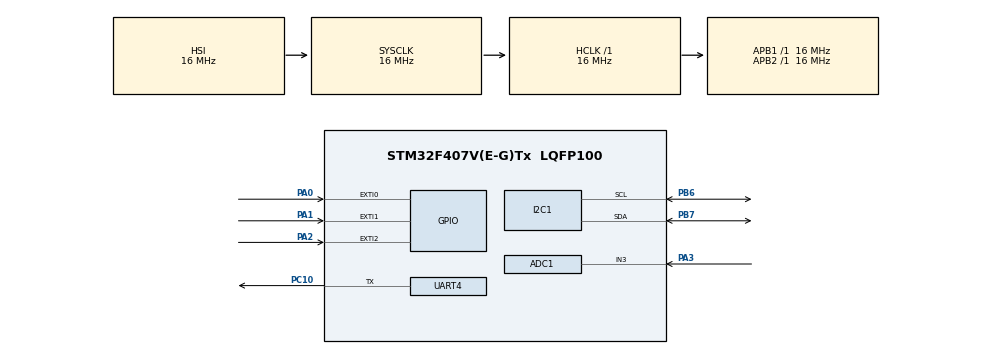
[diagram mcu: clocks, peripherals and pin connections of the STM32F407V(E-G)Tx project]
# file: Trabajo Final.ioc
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ADC1.Channel-0\#ChannelRegularConversion=ADC_CHANNEL_3
ADC1.ContinuousConvMode=ENABLE
ADC1.DMAContinuousRequests=ENABLE
ADC1.InjNumberOfConversion=0
ADC1.NbrOfConversion=1
ADC1.NbrOfConversionFlag=1
ADC1.Rank-0\#ChannelRegularConversion=1
ADC1.Resolution=ADC_RESOLUTION_8B
ADC1.SamplingTime-0\#ChannelRegularConversion=ADC_SAMPLETIME_480CYCLES
ADC1.ScanConvMode=ENABLE
ADC1.master=1
Dma.ADC1.0.Direction=DMA_PERIPH_TO_MEMORY
Dma.ADC1.0.FIFOMode=DMA_FIFOMODE_DISABLE
Dma.ADC1.0.Instance=DMA2_Stream0
Dma.ADC1.0.MemDataAlignment=DMA_MDATAALIGN_BYTE
Dma.ADC1.0.MemInc=DMA_MINC_ENABLE
Dma.ADC1.0.Mode=DMA_CIRCULAR
Dma.ADC1.0.PeriphDataAlignment=DMA_PDATAALIGN_BYTE
Dma.ADC1.0.PeriphInc=DMA_PINC_DISABLE
Dma.ADC1.0.Priority=DMA_PRIORITY_LOW
Dma.Request0=ADC1
I2C1.I2C_Mode=I2C_Fast
I2C1.OwnAddress=0x78
Mcu.Family=STM32F4
Mcu.Name=STM32F407V(E-G)Tx
Mcu.Package=LQFP100
NVIC.DMA2_Stream0_IRQn=true\:0\:0\:false\:false\:true\:false\:true
NVIC.EXTI0_IRQn=true\:0\:0\:false\:false\:true\:true\:true
NVIC.EXTI1_IRQn=true\:0\:0\:false\:false\:true\:true\:true
NVIC.EXTI2_IRQn=true\:0\:0\:false\:false\:true\:true\:true
NVIC.PriorityGroup=NVIC_PRIORITYGROUP_4
NVIC.TIM7_IRQn=true\:0\:0\:false\:false\:true\:true\:true
PA0-WKUP.Signal=GPXTI0
PA1.Signal=GPXTI1
PA2.Signal=GPXTI2
PA3.Signal=ADCx_IN3
PB6.Mode=I2C
PB6.Signal=I2C1_SCL
PB7.Mode=I2C
PB7.Signal=I2C1_SDA
PC10.Mode=Half_duplex(single_wire_mode)
PC10.Signal=UART4_TX
ProjectManager.HeapSize=0x200
ProjectManager.StackSize=0x400
ProjectManager.TargetToolchain=STM32CubeIDE
RCC.AHBFreq_Value=16000000
RCC.APB1Freq_Value=16000000
RCC.APB2Freq_Value=16000000
RCC.CortexFreq_Value=16000000
RCC.HSE_VALUE=25000000
RCC.HSI_VALUE=16000000
RCC.LSE_VALUE=32768
RCC.SYSCLKFreq_VALUE=16000000
RCC.VCOOutputFreq_Value=192000000
SH.ADCx_IN3.0=ADC1_IN3,IN3
TIM7.Period=49
TIM7.Prescaler=15999
UART4.BaudRate=9600
UART4.Mode=MODE_TX
UART4.OverSampling=UART_OVERSAMPLING_16
UART4.StopBits=UART_STOPBITS_1
UART4.VirtualMode=Asynchronous
UART4.WordLength=WORDLENGTH_8B
VP_RNG_VS_RNG.Mode=RNG_Activate
VP_TIM7_VS_ClockSourceINT.Mode=Enable_Timer
board=custom

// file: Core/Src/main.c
/* USER CODE BEGIN Header */
/**
  ******************************************************************************
  * @file           : main.c
  * @brief          : Main program body
  ******************************************************************************
  * @attention
  *
  * <h2><center>&copy; Copyright (c) 2021 STMicroelectronics.
  * All rights reserved.</center></h2>
  *
  * This software component is licensed by ST under BSD 3-Clause license,
  * the "License"; You may not use this file except in compliance with the
  * License. You may obtain a copy of the License at:
  *                        opensource.org/licenses/BSD-3-Clause
  *
  ******************************************************************************
  */
/* USER CODE END Header */
#include "main.h"

/* USER CODE BEGIN Includes */
#include <stdbool.h>
#include <string.h>
#include <stdio.h>
#include <stdlib.h>
//#include <time.h>

/* USER CODE END Includes */

ADC_HandleTypeDef hadc1;
DMA_HandleTypeDef hdma_adc1;

I2C_HandleTypeDef hi2c1;

RNG_HandleTypeDef hrng;

TIM_HandleTypeDef htim7;

UART_HandleTypeDef huart4;

/* USER CODE BEGIN PV */

// VARIABLES DISPLAY
//Direcciones I2C y buffers
uint8_t slave_address_write = 0x78;
uint8_t slave_address_read = 0x78 | 0x01;
uint8_t i2cTxBuf[2];
uint8_t i2cRxBuf;
uint8_t uartTxBuf = 11U;
bool COM_ERROR = false; //Indica error de comunicación I2C con el display
bool UART_ERROR = false; //Indica error de envío UART

#define alto_display 64
#define ancho_display 128
#define n_paginas 8 //El direccionamiento de las celdas SRAM se hace mediante páginas (8 páginas de 128 x 8 bits)
uint8_t buffer[n_paginas * ancho_display]; //Información que se cargará en la SRAM del display

//VARIABLES JUEGO
uint8_t map_layout[ancho_display][alto_display]; //Matriz 2D del mapa del juego, implementado de esta forma por
												 //comodidad. Cada entero almacenará '0' o '1' para indicar bit
												 //encendido o apagado
volatile bool refresh = false; //Actualizado por interrupciones de teporizador, indicará que el juego debe avanzar un
				      //frame y que el display debe ser actualizado

//Cuerpo de la serpiente
#define LONGITUD_INICIAL 10U
#define LONGITUD_MAXIMA 99U
struct modulo{ //La serpiente estará compuesta por módulos, las frutas serán módulos individuales
	uint8_t x;
	uint8_t y;
}typedef modulo;
modulo serpiente[LONGITUD_MAXIMA]; //Cuerpo de la serpiente
uint8_t s_Longitud = LONGITUD_INICIAL; //Longitud actual. Este valor será enviado a la FPGA como "puntuación"

//Frutas para comer por la serpiente
#define N_FRUTAS 20 //Frutas que habrá en el mapa en todo momento
modulo frutas[N_FRUTAS]; //Contiene todas las frutas actuales

//Dirección de la serpiente
#define s_DERECHA 'r'
#define s_IZQUIERDA 'i'
#define s_ARRIBA 'u'
#define s_ABAJO 'd'
#define s_SENTIDO_INICIAL s_ARRIBA
uint8_t s_Sentido = s_SENTIDO_INICIAL; //Almacena el estado de la serpiente (en qué dirección se está moviendo).

//VARIABLES BOTON
volatile bool boton = false;

//VARIABLES POTENCIÓMETRO
uint32_t adc_buffer = 0;
uint8_t pot_read = 0;

/* USER CODE END PV */

void SystemClock_Config(void);
static void MX_GPIO_Init(void);
static void MX_I2C1_Init(void);
static void MX_TIM7_Init(void);
static void MX_RNG_Init(void);
static void MX_DMA_Init(void);
static void MX_ADC1_Init(void);
static void MX_UART4_Init(void);
/* USER CODE BEGIN PFP */

//FUNCIONES OLED
bool oled_command(uint8_t command); //Envía un comando simple al display (NO UTILIZADO)
void oled_init(); //Inicialización Obligatoria
void alimentacion(bool enable); //Enciende o apaga el display
void clear(bool enable); //Carga todos los valores del buffer con un mismo valor
void display(); //Carga el buffer en la SRAM del display
void dibuja_pixel(uint8_t x, uint8_t y, bool borra); //Dibuja/Borra un sólo pixel del buffer
//void flash_screen(); //Hace parpadear la pantalla (Todo ON/Valores SRAM)
void flashScreen(); //Hace parpadear la pantalla (invertida/normal) 4 veces
void setContrast(uint8_t value); //Define el contraste del display, "value" entre 0 y 255

//FUNCIONES JUEGO
void HAL_TIM_PeriodElapsedCallback(TIM_HandleTypeDef* htim); //Callback encargada de avanzar el juego y
															 //refrescar la pantalla cada 50ms (20Hz)
void clearLayout(); //Limpia el layout
void setLayout(); //Dibuja las paredes y BORRA LO DEM�?S
void init_serpiente(); //Inicializa la serpiente en posicion inicial
void init_frutas(); //Inicializa las posiciones iniciales de las frutas (debe ejecutarse después de setSerpiente)
void lanzaFruta(); //Posiciona una fruta en un lugar aleatorio
void setSerpiente(); //Dibuja la serpiente en el layout
void setFrutas(); //Dibuja las frutas en el layout
void transferMapToBuffer(); //Carga el mapa en el buffer que luego se envía al display
bool giraSerpiente(uint8_t indicacion); //Cambia la dirección de la serpiente (Hay macros con cada dirección)
										//Devuelve false si no se pudo ejecutar el giro
void giraDerecha(); //Gira la serpiente 90º a la derecha
void giraIzquierda(); //Gira la serpiente 90º a la izquierda
void avanzaSerpiente(); //Hace avanzar la serpiente una casilla (en el layout)
int colision(uint8_t x, uint8_t y); //Devuelve 1 si la colisión es con una fruta, 2 con pared,
									//-1 si es la propia serpiente y 0 si no hay colisión
void gameOver();
void initGame();

//FUNCIONES EXTI
bool debounce(volatile bool* boton);
void HAL_GPIO_EXTI_Callback(uint16_t GPIO_Pin){
	HAL_NVIC_DisableIRQ(EXTI0_IRQn);
	HAL_NVIC_DisableIRQ(EXTI1_IRQn);
	HAL_NVIC_DisableIRQ(EXTI2_IRQn);

	if (GPIO_Pin == GPIO_PIN_0)
			boton = true;
	else if (GPIO_Pin == GPIO_PIN_1)
		giraDerecha();
	else if (GPIO_Pin == GPIO_PIN_2)
		giraIzquierda();

	HAL_NVIC_EnableIRQ(EXTI0_IRQn);
	HAL_NVIC_EnableIRQ(EXTI1_IRQn);
	HAL_NVIC_EnableIRQ(EXTI2_IRQn);
}

//FUNCIONES ADC Y DMA
void HAL_ADC_ConvCpltCallback (ADC_HandleTypeDef * hadc){
	if (hadc->Instance == ADC1){
		pot_read = adc_buffer;;
	}
}

/* USER CODE END PFP */

int main(void)
{

  /* MCU Configuration--------------------------------------------------------*/

  /* Reset of all peripherals, Initializes the Flash interface and the Systick. */
  HAL_Init();

  /* Configure the system clock */
  SystemClock_Config();

  /* Initialize all configured peripherals */
  MX_GPIO_Init();
  MX_I2C1_Init();
  MX_TIM7_Init();
  MX_RNG_Init();
  MX_DMA_Init();
  MX_ADC1_Init();
  MX_UART4_Init();
  /* USER CODE BEGIN 2 */

  oled_init(); //INICIALIZACIÓN OBLIGATORIA
  /* USER CODE END 2 */

  /* Infinite loop */
  /* USER CODE BEGIN WHILE */
  initGame();
  HAL_TIM_Base_Start_IT(&htim7);
  HAL_ADC_Start_DMA(&hadc1, &adc_buffer, 1);
  uint8_t last_pot_read = pot_read;
  if(HAL_HalfDuplex_EnableTransmitter(&huart4) != HAL_OK)
	  UART_ERROR = true;
  if(HAL_UART_Transmit(&huart4, &s_Longitud, 1, HAL_MAX_DELAY) != HAL_OK)
  				UART_ERROR = true;

  while (1)
  {
    /* USER CODE END WHILE */

    /* USER CODE BEGIN 3 */
	  uint32_t count = HAL_GetTick();
	  while(HAL_GetTick() - count < 120000){ //Se apaga automáticamente para ahorrar energía,
		  	  	  	  	  	  	  	  	  	 //cuando termina el bucle
		  //Avanza el juego 1 "frame"
		  if(refresh){
			  avanzaSerpiente();
			  setLayout();
			  setSerpiente();
			  setFrutas();
			  transferMapToBuffer();
			  display();
			  refresh = false;
		  }

		  //Gira si el jugador lo indica (pulsador del micro)
		  if(debounce(&boton))
			  giraDerecha();

		  //Ajusta el contraste si el valor del potenciómetro ha cambiado
		  if(abs(last_pot_read - pot_read) > 5){
			  HAL_ADC_Stop_DMA(&hadc1);
			  last_pot_read = pot_read;
			  setContrast(pot_read);
			  HAL_ADC_Start_DMA(&hadc1, &adc_buffer, 1);
		  }
	  }
	  HAL_Delay(5000);
	  alimentacion(false); //Apaga el display al salir del bucle
  }
  /* USER CODE END 3 */
}

void SystemClock_Config(void)
{
  RCC_OscInitTypeDef RCC_OscInitStruct = {0};
  RCC_ClkInitTypeDef RCC_ClkInitStruct = {0};

  /** Configure the main internal regulator output voltage
  */
  __HAL_RCC_PWR_CLK_ENABLE();
  __HAL_PWR_VOLTAGESCALING_CONFIG(PWR_REGULATOR_VOLTAGE_SCALE1);
  /** Initializes the RCC Oscillators according to the specified parameters
  * in the RCC_OscInitTypeDef structure.
  */
  RCC_OscInitStruct.OscillatorType = RCC_OSCILLATORTYPE_HSI;
  RCC_OscInitStruct.HSIState = RCC_HSI_ON;
  RCC_OscInitStruct.HSICalibrationValue = RCC_HSICALIBRATION_DEFAULT;
  RCC_OscInitStruct.PLL.PLLState = RCC_PLL_ON;
  RCC_OscInitStruct.PLL.PLLSource = RCC_PLLSOURCE_HSI;
  RCC_OscInitStruct.PLL.PLLM = 16;
  RCC_OscInitStruct.PLL.PLLN = 192;
  RCC_OscInitStruct.PLL.PLLP = RCC_PLLP_DIV2;
  RCC_OscInitStruct.PLL.PLLQ = 4;
  if (HAL_RCC_OscConfig(&RCC_OscInitStruct) != HAL_OK)
  {
    Error_Handler();
  }
  /** Initializes the CPU, AHB and APB buses clocks
  */
  RCC_ClkInitStruct.ClockType = RCC_CLOCKTYPE_HCLK|RCC_CLOCKTYPE_SYSCLK
                              |RCC_CLOCKTYPE_PCLK1|RCC_CLOCKTYPE_PCLK2;
  RCC_ClkInitStruct.SYSCLKSource = RCC_SYSCLKSOURCE_HSI;
  RCC_ClkInitStruct.AHBCLKDivider = RCC_SYSCLK_DIV1;
  RCC_ClkInitStruct.APB1CLKDivider = RCC_HCLK_DIV1;
  RCC_ClkInitStruct.APB2CLKDivider = RCC_HCLK_DIV1;

  if (HAL_RCC_ClockConfig(&RCC_ClkInitStruct, FLASH_LATENCY_0) != HAL_OK)
  {
    Error_Handler();
  }
}

static void MX_ADC1_Init(void)
{

  ADC_ChannelConfTypeDef sConfig = {0};

  /** Configure the global features of the ADC (Clock, Resolution, Data Alignment and number of conversion)
  */
  hadc1.Instance = ADC1;
  hadc1.Init.ClockPrescaler = ADC_CLOCK_SYNC_PCLK_DIV2;
  hadc1.Init.Resolution = ADC_RESOLUTION_8B;
  hadc1.Init.ScanConvMode = ENABLE;
  hadc1.Init.ContinuousConvMode = ENABLE;
  hadc1.Init.DiscontinuousConvMode = DISABLE;
  hadc1.Init.ExternalTrigConvEdge = ADC_EXTERNALTRIGCONVEDGE_NONE;
  hadc1.Init.ExternalTrigConv = ADC_SOFTWARE_START;
  hadc1.Init.DataAlign = ADC_DATAALIGN_RIGHT;
  hadc1.Init.NbrOfConversion = 1;
  hadc1.Init.DMAContinuousRequests = ENABLE;
  hadc1.Init.EOCSelection = ADC_EOC_SINGLE_CONV;
  if (HAL_ADC_Init(&hadc1) != HAL_OK)
  {
    Error_Handler();
  }
  /** Configure for the selected ADC regular channel its corresponding rank in the sequencer and its sample time.
  */
  sConfig.Channel = ADC_CHANNEL_3;
  sConfig.Rank = 1;
  sConfig.SamplingTime = ADC_SAMPLETIME_480CYCLES;
  if (HAL_ADC_ConfigChannel(&hadc1, &sConfig) != HAL_OK)
  {
    Error_Handler();
  }

}

static void MX_I2C1_Init(void)
{

  hi2c1.Instance = I2C1;
  hi2c1.Init.ClockSpeed = 400000;
  hi2c1.Init.DutyCycle = I2C_DUTYCYCLE_2;
  hi2c1.Init.OwnAddress1 = 240;
  hi2c1.Init.AddressingMode = I2C_ADDRESSINGMODE_7BIT;
  hi2c1.Init.DualAddressMode = I2C_DUALADDRESS_DISABLE;
  hi2c1.Init.OwnAddress2 = 0;
  hi2c1.Init.GeneralCallMode = I2C_GENERALCALL_DISABLE;
  hi2c1.Init.NoStretchMode = I2C_NOSTRETCH_DISABLE;
  if (HAL_I2C_Init(&hi2c1) != HAL_OK)
  {
    Error_Handler();
  }

}

static void MX_RNG_Init(void)
{

  hrng.Instance = RNG;
  if (HAL_RNG_Init(&hrng) != HAL_OK)
  {
    Error_Handler();
  }

}

static void MX_TIM7_Init(void)
{

  TIM_MasterConfigTypeDef sMasterConfig = {0};

  htim7.Instance = TIM7;
  htim7.Init.Prescaler = 15999;
  htim7.Init.CounterMode = TIM_COUNTERMODE_UP;
  htim7.Init.Period = 49;
  htim7.Init.AutoReloadPreload = TIM_AUTORELOAD_PRELOAD_DISABLE;
  if (HAL_TIM_Base_Init(&htim7) != HAL_OK)
  {
    Error_Handler();
  }
  sMasterConfig.MasterOutputTrigger = TIM_TRGO_RESET;
  sMasterConfig.MasterSlaveMode = TIM_MASTERSLAVEMODE_DISABLE;
  if (HAL_TIMEx_MasterConfigSynchronization(&htim7, &sMasterConfig) != HAL_OK)
  {
    Error_Handler();
  }

}

static void MX_UART4_Init(void)
{

  huart4.Instance = UART4;
  huart4.Init.BaudRate = 9600;
  huart4.Init.WordLength = UART_WORDLENGTH_8B;
  huart4.Init.StopBits = UART_STOPBITS_1;
  huart4.Init.Parity = UART_PARITY_NONE;
  huart4.Init.Mode = UART_MODE_TX;
  huart4.Init.HwFlowCtl = UART_HWCONTROL_NONE;
  huart4.Init.OverSampling = UART_OVERSAMPLING_16;
  if (HAL_HalfDuplex_Init(&huart4) != HAL_OK)
  {
    Error_Handler();
  }

}

static void MX_DMA_Init(void)
{

  /* DMA controller clock enable */
  __HAL_RCC_DMA2_CLK_ENABLE();

  /* DMA interrupt init */
  /* DMA2_Stream0_IRQn interrupt configuration */
  HAL_NVIC_SetPriority(DMA2_Stream0_IRQn, 0, 0);
  HAL_NVIC_EnableIRQ(DMA2_Stream0_IRQn);

}

static void MX_GPIO_Init(void)
{
  GPIO_InitTypeDef GPIO_InitStruct = {0};

  /* GPIO Ports Clock Enable */
  __HAL_RCC_GPIOA_CLK_ENABLE();
  __HAL_RCC_GPIOC_CLK_ENABLE();
  __HAL_RCC_GPIOB_CLK_ENABLE();

  /*Configure GPIO pins : PA0 PA1 PA2 */
  GPIO_InitStruct.Pin = GPIO_PIN_0|GPIO_PIN_1|GPIO_PIN_2;
  GPIO_InitStruct.Mode = GPIO_MODE_IT_RISING;
  GPIO_InitStruct.Pull = GPIO_NOPULL;
  HAL_GPIO_Init(GPIOA, &GPIO_InitStruct);

  /* EXTI interrupt init*/
  HAL_NVIC_SetPriority(EXTI0_IRQn, 0, 0);
  HAL_NVIC_EnableIRQ(EXTI0_IRQn);

  HAL_NVIC_SetPriority(EXTI1_IRQn, 0, 0);
  HAL_NVIC_EnableIRQ(EXTI1_IRQn);

  HAL_NVIC_SetPriority(EXTI2_IRQn, 0, 0);
  HAL_NVIC_EnableIRQ(EXTI2_IRQn);

}

/* USER CODE BEGIN 4 */
void HAL_TIM_PeriodElapsedCallback(TIM_HandleTypeDef* htim){
	if (htim->Instance == TIM7)
			refresh = true;
}

bool oled_command(uint8_t command){
	i2cTxBuf[0] = 0x00;
	i2cTxBuf[1] = command;
	if(HAL_I2C_Master_Transmit(&hi2c1, slave_address_write, i2cTxBuf, 2, HAL_MAX_DELAY) == HAL_OK)
		return true;
	else
		return false;
}
void oled_init(){
	uint8_t init_buffer[] = {
			0x00, //Byte de control, indica que sólo siguen comandos
			0xAE, //Apaga el display
			0xD5, //Establece el divisor de reloj y freq del oscilador
			0x80, //(foscilador +15%)
			0xA8, //multiplex ratio
			alto_display - 1,
			0xD3, //Display Offset
			0x00, //(sin offset)
			0x40, //start line address = 0 (para el scrolling)
			0x8D, //charge pump X
			0x14, //internalX
			0x20, //Memory addressing mode X
			0x00, //(Horizontal) X
//			0x32, //Set pump voltage (8V)
//			0xAD, //DC-DC Set
//			0x8B, //(DC-DC On)
			0xA1, //Segment remap
			0xC8, //Common Output Scan Direction
			0xDA, //Common pads hardware configuration
			0x12, //(Alternative)
			0x81, //Contrast Control
			0xCF,
			0xD9, //Pre-charge period
			0xF1,
			0xDB, //Vcomh deselect level
			0x40,
			0xA4, //Normal RAM display out
			0x2E, //Stop Scrolling X
			0xA6 //Display mode Normal
	};/*
	for(int i = 0; i < sizeof(init_buffer); i++){
		if(!oled_command(init_buffer[i]))
			COM_ERROR = true;
	}*/

	if (HAL_I2C_Master_Transmit(&hi2c1, slave_address_write, init_buffer, sizeof(init_buffer), HAL_MAX_DELAY) != HAL_OK){
		COM_ERROR = true;
	}

	clear(false);
	display();
	alimentacion(true);

}
void alimentacion(bool enable){
	uint8_t power_on[] = {
			0x00, //Command
			0x8D, 0x14, //DC-DC ON
			0xAF //Display ON
	};
	uint8_t power_off[] = {
			0x00, //Command
			0xAE, //Display OFF
			0x8D, 0x10, //DC-DC OFF
	};
	uint8_t send[sizeof(power_off)];

	if(enable)
		memcpy(send, power_on, sizeof(send));
	else
		memcpy(send, power_off, sizeof(send));

	if(HAL_I2C_Master_Transmit(&hi2c1, slave_address_write, send, sizeof(send), HAL_MAX_DELAY) != HAL_OK){
		COM_ERROR = true;
	}
	/*
	for(int i = 0; i < sizeof(send); i++){
		if(!oled_command(send[i]))
			COM_ERROR = true;
	}
	*/
	HAL_Delay(100);
}

void clear(bool enable){
	if(enable)
		memset(buffer, 0xFF, sizeof(buffer));
	else
		memset(buffer, 0x00, sizeof(buffer));
}

void display(){
	uint16_t i = 0;
	uint8_t data_buffer[ancho_display + 1];
	data_buffer[0] = 0x40; //Datos
	for(uint8_t pagina = 0; pagina < n_paginas; pagina++){
		uint8_t command_buffer[] = {
				0x00,
				0xB0 + pagina, //Establece página
				0x00, //Lower colum address
				0x10 //Upper colum address
		};
		if(HAL_I2C_Master_Transmit(&hi2c1, slave_address_write, command_buffer, sizeof(command_buffer), HAL_MAX_DELAY) != HAL_OK)
			COM_ERROR = true;

		memcpy(&data_buffer[1], &buffer[i], ancho_display);
		i += ancho_display;
		if(HAL_I2C_Master_Transmit(&hi2c1, slave_address_write, data_buffer, sizeof(data_buffer), HAL_MAX_DELAY) != HAL_OK)
					COM_ERROR = true;

	}
}
void dibuja_pixel(uint8_t x, uint8_t y, bool borra){
	if (x >= ancho_display || y >= alto_display)
		return;
	if(!borra)
		buffer[x + (y / 8) * ancho_display] |= (1 << (y & 7)); // set bit
	else
		buffer[x + (y / 8) * ancho_display] &= ~(1 << (y & 7)); // clear bit
}
/*void flash_screen(){
	i2cTxBuf[0] = 0x00; //Command
	i2cTxBuf[1] = 0xA4;
	if(HAL_I2C_Master_Transmit(&hi2c1, slave_address_write, i2cTxBuf, 2, HAL_MAX_DELAY) != HAL_OK){
	  COM_ERROR = true;
	}
	HAL_Delay(500);
	i2cTxBuf[1] = 0xA5;
	HAL_I2C_Master_Transmit(&hi2c1, slave_address_write, i2cTxBuf, 2, HAL_MAX_DELAY);
	HAL_Delay(500);
}*/

void flashScreen(){
	uint8_t flash_on[] = {
		0x00, //Command
		0xA7 //Inverse Display
	};
	uint8_t flash_off[] = {
		0x00, //Command
		0xA6 //Normal Display
	};

	for(int i = 0; i < 4; i++){
		if (HAL_I2C_Master_Transmit(&hi2c1, slave_address_write, flash_on, sizeof(flash_on), HAL_MAX_DELAY) != HAL_OK){
				COM_ERROR = true;
		}
		HAL_Delay(250);
		if (HAL_I2C_Master_Transmit(&hi2c1, slave_address_write, flash_off, sizeof(flash_off), HAL_MAX_DELAY) != HAL_OK){
				COM_ERROR = true;
		}
		HAL_Delay(250);
	}
}

void setContrast(uint8_t value){
	uint8_t contrast_config[] = {
			0x00, //Command
			0x81, //Contrast Control (0x81 en ssd1306)
			value
	};

	if (HAL_I2C_Master_Transmit(&hi2c1, slave_address_write, contrast_config, sizeof(contrast_config), HAL_MAX_DELAY) != HAL_OK){
			COM_ERROR = true;
	}

}

//FUNCIONES JUEGO
void clearLayout(){
	for(int i = 0; i < ancho_display; i++){
		memset(map_layout[i], 0, sizeof(&map_layout[i]));
	}
}

void setLayout(){
	for(int i = 0; i < ancho_display; i++){
		for(int j = 0; j < alto_display; j++){
			if(i == 0 || i == (ancho_display - 1) || j == 0 || j == (alto_display - 1))
				map_layout[i][j] = 1;
			else
				map_layout[i][j] = 0;
		}
	}
}

void init_serpiente(){
	s_Sentido = s_SENTIDO_INICIAL;
	for(int i = 0; i < s_Longitud; i++){
		serpiente[i].x = ancho_display / 2 -i;
		serpiente[i].y = alto_display / 2;
	}
}

void init_frutas(){
	//uint32_t x, y;
	for(int i = 0; i < N_FRUTAS; i++){
		/*HAL_RNG_GenerateRandomNumber(&hrng, &x);
		HAL_RNG_GenerateRandomNumber(&hrng, &y);
		x = (x % (ancho_display - 20)) + 10;
		y = (y % (alto_display - 20)) + 10;
		if(map_layout[x][y] == 0){
			frutas[i].x = x;
			frutas[i].y = y;
			i++;
		}*/

		lanzaFruta(&frutas[i]);
	}
}

void lanzaFruta(modulo* fruta){ //Posiciona una fruta en un lugar aleatorio
	uint32_t x, y;
	//for(int i = 0; i < N_FRUTAS;){
	do{
		HAL_RNG_GenerateRandomNumber(&hrng, &x);
		HAL_RNG_GenerateRandomNumber(&hrng, &y);
		x = (x % (ancho_display - 20)) + 10;
		y = (y % (alto_display - 20)) + 10;
	}while(map_layout[x][y] != 0);

	fruta->x = x;
	fruta->y = y;
}
void setSerpiente(){
	for(int i = 0; i < s_Longitud; i++){
		map_layout[serpiente[i].x][serpiente[i].y] = 1;
	}
}

void setFrutas(){
	for(int i = 0; i < N_FRUTAS; i++){
		map_layout[frutas[i].x][frutas[i].y] = 1;
	}
}

void transferMapToBuffer(){
	for(int i = 0; i < ancho_display; i++){
		for(int j = 0; j < alto_display; j++){
			if(map_layout[i][j] == 0)
				dibuja_pixel(i, j, true);
			else
				dibuja_pixel(i, j, false);
		}
	}
}

bool giraSerpiente(uint8_t indicacion){
	if(s_Sentido == s_IZQUIERDA || s_Sentido == s_DERECHA){ //Movimiento Horizontal
		if(indicacion == s_ARRIBA || indicacion == s_ABAJO){ //Giro perpendicular
			s_Sentido = indicacion;
			return true;
		}
	}else //Movimiento Vertical
		if(indicacion == s_IZQUIERDA || indicacion == s_DERECHA){ //Giro perpendicular
			s_Sentido = indicacion;
			return true;
	}

	return false; //No se ejecutó giro
}

void giraDerecha(){
	if(s_Sentido == s_DERECHA)
		s_Sentido = s_ABAJO;
	else if(s_Sentido == s_ABAJO)
		s_Sentido = s_IZQUIERDA;
	else if(s_Sentido == s_IZQUIERDA)
		s_Sentido = s_ARRIBA;
	else
		s_Sentido = s_DERECHA;
}

void giraIzquierda(){
	if(s_Sentido == s_DERECHA)
		s_Sentido = s_ARRIBA;
	else if(s_Sentido == s_ABAJO)
		s_Sentido = s_DERECHA;
	else if(s_Sentido == s_IZQUIERDA)
		s_Sentido = s_ABAJO;
	else
		s_Sentido = s_IZQUIERDA;
}

void avanzaSerpiente(){

	//No comprueba si el sentido es apropiado (dicha comprobación se hace en la función giraSerpiente()
	switch(s_Sentido){
		case s_DERECHA:
			serpiente[0].x += 1;
		break;
		case s_IZQUIERDA:
			serpiente[0].x -= 1;
		break;
		case s_ARRIBA:
			serpiente[0].y -= 1;
		break;
		case s_ABAJO:
			serpiente[0].y += 1;
		break;

	}

	switch(colision(serpiente[0].x, serpiente[0].y)){
		case -1: //Serpiente
		case 2: //Pared
			gameOver();
			break;
		case 0: //Sin Colisión
			break;
		case 1: //Fruta (serpiente crece 1)
			s_Longitud++;
			serpiente[s_Longitud - 1].x = serpiente[s_Longitud - 2].x - (serpiente[s_Longitud - 3].x - serpiente[s_Longitud - 2].x);
			serpiente[s_Longitud - 1].y = serpiente[s_Longitud - 2].y - (serpiente[s_Longitud - 3].y - serpiente[s_Longitud - 2].y);
			//unsigned char buf = 'a';
			if(HAL_UART_Transmit(&huart4, &s_Longitud, 1, HAL_MAX_DELAY) != HAL_OK)
				UART_ERROR = true;
			//uartTxBuf++;
			break;
	}

	/*
	if( (serpiente[0].x >= ancho_display -2) ||
		(serpiente[0].x <= 2) ||
		(serpiente[0].y >= alto_display -2) ||
		(serpiente[0].y <= 2) )
		return; //Si la serpiente alcanza alguno de los márgenes, se detiene
	*/
	for(int i = 0; i < s_Longitud; i++){
		serpiente[s_Longitud - i] = serpiente[s_Longitud - i - 1];
	}

}

int colision(uint8_t x, uint8_t y){

	if(map_layout[x][y] == 1){ //Colisión con ente desconocido
		if(x == ancho_display - 1 || x == 0 || y == alto_display - 1 || y == 0) //Colisión con pared
			return 2;

		for(int i = 0; i < N_FRUTAS; i++){
			if(frutas[i].x == x && frutas[i].y == y){ //Comprueba colisión con fruta
				lanzaFruta(&frutas[i]); //Repone la fruta en otro sitio
				return 1;
			}
		}

		for(int i = 0; i < s_Longitud; i++){ //Colisión con serpiente
			if(serpiente[i].x == x && serpiente[i].y == y)
				return -1;
		}
	}

	return 0;
}

bool debounce(volatile bool* boton){
	static int counter = 0;
	//static bool first_time = true;

	if(*boton == true){
		if((HAL_GetTick() - counter) > 50 && HAL_GPIO_ReadPin(GPIOA, GPIO_PIN_0)){ //No es rebote
			counter = HAL_GetTick();
			*boton = false;
			return true;
		}else{ //Es Rebote
			counter = HAL_GetTick();
			*boton = false;
			return false;
		}
	}else{
		return false;
	}

}

void gameOver(){
	flashScreen();
	initGame();
}

void initGame(){
	s_Longitud = LONGITUD_INICIAL;
	init_serpiente();
	//clearLayout(); //setLayout() lo hace
	setLayout();
	setSerpiente();
	init_frutas();
	setFrutas();
	transferMapToBuffer();
	display();
	if(HAL_UART_Transmit(&huart4, &s_Longitud, 1, HAL_MAX_DELAY) != HAL_OK)
		UART_ERROR = true;
}

/* USER CODE END 4 */

void Error_Handler(void)
{
  __disable_irq();
  while (1)
  {
  }
}

/************************ (C) COPYRIGHT STMicroelectronics *****END OF FILE****/
